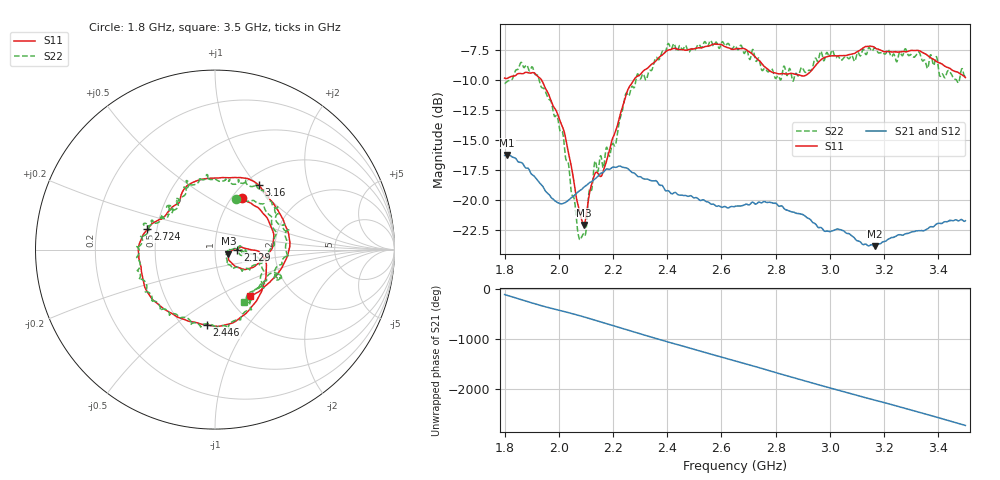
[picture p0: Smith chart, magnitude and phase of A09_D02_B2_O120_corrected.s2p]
! Created with skrf 1.9.0 (http://scikit-rf.org).
# Hz S RI R 50.0
!freq ReS11 ImS11 ReS21 ImS21 ReS12 ImS12 ReS22 ImS22
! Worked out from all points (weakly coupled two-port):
!   1601 points, 1.8 GHz to 3.5 GHz, reference 50 ohm
!   highest |S21| = -16.28 dB at 1.81 GHz (marker M1); lowest = -23.9 dB at 3.165 GHz (marker M2)
!   lowest |S11| = -22.1 dB at 2.092 GHz (marker M3), VSWR 1.17, Z = 58 - j2.73 ohm
!   |S11| at or under -10 dB: 1.936 GHz to 2.277 GHz (341.5 MHz wide, 16.2 % of centre)
!   |S22| runs from -23.4 to -6.7 dB; largest |S21 - S12| = 0.0026
!   S11 on the Smith chart (normalised r, x): 1.8 GHz: 1.11, +0.71; 2.129 GHz: 1.29, +0.00; 2.446 GHz: 0.65, -0.66; 2.724 GHz: 0.44, +0.12; 3.16 GHz: 1.16, +1.03; 3.5 GHz: 1.26, -0.72
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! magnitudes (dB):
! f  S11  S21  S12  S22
! 1.8 GHz  -9.9  -16.3  -16.3  -10.3
! 1.81 GHz  -9.9  -16.3  -16.3  -10.1
! 1.901 GHz  -9.4  -17.9  -17.8  -8.9
! 1.968 GHz  -11.5  -19.7  -19.7  -11.7
! 2.021 GHz  -14.4  -20.3  -20.3  -15.7
! 2.072 GHz  -20.5  -19.3  -19.4  -22.9
! 2.084 GHz  -21.6  -19.2  -19.1  -23.1
! 2.092 GHz  -22.1  -19.0  -19.0  -22.9
! 2.129 GHz  -18.1  -18.3  -18.3  -17.3
! 2.161 GHz  -17.8  -17.7  -17.7  -17.1
! 2.208 GHz  -14.4  -17.3  -17.3  -15.5
! 2.26 GHz  -10.6  -17.5  -17.5  -11.3
! 2.367 GHz  -8.2  -18.7  -18.6  -8.3
! 2.446 GHz  -7.5  -19.6  -19.6  -7.1
! 2.65 GHz  -7.4  -20.6  -20.5  -7.1
! 2.724 GHz  -8.1  -20.4  -20.3  -8.3
! 2.812 GHz  -9.5  -20.5  -20.4  -9.7
! 2.934 GHz  -9.2  -21.8  -21.8  -9.2
! 3.16 GHz  -7.2  -23.8  -23.8  -7.5
! 3.165 GHz  -7.3  -23.9  -23.8  -7.3
! 3.217 GHz  -7.7  -23.3  -23.2  -7.5
! 3.5 GHz  -9.8  -21.8  -21.7  -9.5
